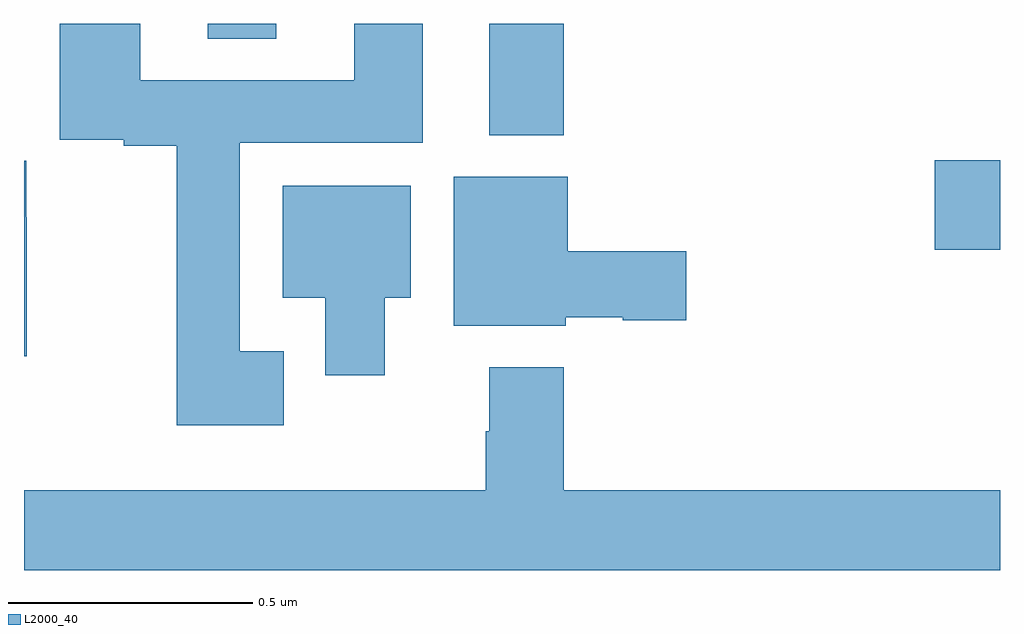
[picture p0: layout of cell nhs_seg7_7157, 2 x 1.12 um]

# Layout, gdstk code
import gdstk
lib = gdstk.Library(unit=1e-6, precision=1e-09)
def R(c, l, rs):  # rectangles x0, y0, x1, y1
    for r in rs: c.add(gdstk.rectangle(r[:2], r[2:], *l))
def P(c, l, *ps):  # polygons
    for p in ps: c.add(gdstk.Polygon(p, *l))
L2000_40 = (2000, 40)

nhs_seg7_7157 = lib.new_cell('nhs_seg7_7157')
R(nhs_seg7_7157, L2000_40, [(208.866,1070.537,209,1070.72), (207.953,1070.771,208.106,1071), (207.377,1070.969,207.517,1071)])
P(nhs_seg7_7157, L2000_40, [(207.532,1070.329),(207.442,1070.329),(207.442,1070.756),(207.817,1070.756),(207.817,1071),(207.677,1071),(207.677,1070.884),(207.238,1070.884),(207.238,1071),(207.073,1071),(207.073,1070.762),(207.204,1070.762),(207.204,1070.75),(207.313,1070.75),(207.313,1070.177),(207.532,1070.177)],
  [(207.006,1070.603),(207.005,1070.603),(207.005,1070.719),(207,1070.719),(207,1070.319),(207.006,1070.319)],
  [(208.11,1070.399),(208.227,1070.399),(208.227,1070.392),(208.357,1070.392),(208.357,1070.534),(208.114,1070.534),(208.114,1070.686),(207.881,1070.686),(207.881,1070.381),(208.11,1070.381)],
  [(207.739,1070.438),(207.793,1070.438),(207.793,1070.668),(207.53,1070.668),(207.53,1070.438),(207.617,1070.438),(207.617,1070.28),(207.739,1070.28)],
  [(209,1070.044),(208.106,1070.044),(208.106,1070.296),(207.953,1070.296),(207.953,1070.165),(207.946,1070.165),(207.946,1070.044),(207,1070.044),(207,1069.88),(209,1069.88)])

lib.write_gds('nhs_seg7_7157.gds')
